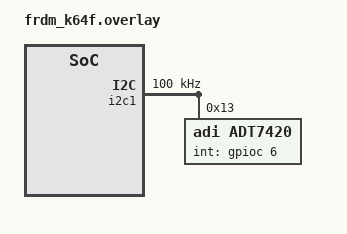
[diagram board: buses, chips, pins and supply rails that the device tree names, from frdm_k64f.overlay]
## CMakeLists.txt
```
# SPDX-License-Identifier: Apache-2.0

cmake_minimum_required(VERSION 3.28.0)
find_package(Zephyr REQUIRED HINTS $ENV{ZEPHYR_BASE})
project(adt7420)

FILE(GLOB app_sources src/*.c)
target_sources(app PRIVATE ${app_sources})
```

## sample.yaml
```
sample:
  name: ADT7420 Sensor Sample
tests:
  sample.sensor.adt7420:
    harness: sensor
    tags: sensors
    platform_allow:
      - frdm_k64f
    depends_on: i2c
```

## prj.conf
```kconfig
CONFIG_STDOUT_CONSOLE=y
CONFIG_I2C=y
CONFIG_SENSOR=y
CONFIG_CBPRINTF_FP_SUPPORT=y
CONFIG_PM_DEVICE=y
```

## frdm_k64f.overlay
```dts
/*
 * Copyright (c) 2019 Linaro Limited
 *
 * SPDX-License-Identifier: Apache-2.0
 */

&i2c1 {
	status = "okay";
	clock-frequency = <I2C_BITRATE_STANDARD>;
	adt7420@13 {
		compatible = "adi,adt7420";
		reg = <0x13>;
		label = "ADT7420";
		int-gpios = <&gpioc 6 0>;
	};
};
```

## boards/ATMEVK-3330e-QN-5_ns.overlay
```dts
&i2c1 {
	status = "okay";
        scl-pullup;
	adt7420@4b {
		compatible = "adi,adt7420";
		reg = <0x4b>;
		label = "ADT7420";
	};
};
```

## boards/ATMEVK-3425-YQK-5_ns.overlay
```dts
&i2c0 {
	status = "okay";
        scl-pullup;
	adt7420@4b {
		compatible = "adi,adt7420";
		reg = <0x4b>;
		label = "ADT7420";
	};
};
```

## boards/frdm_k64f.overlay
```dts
/*
 * Copyright (c) 2019 Linaro Limited, 2026 Analog Devices Inc.
 *
 * SPDX-License-Identifier: Apache-2.0
 */

&i2c0 {
	clock-frequency = <I2C_BITRATE_STANDARD>;
	status = "okay";

	adt7420: adt7420@48 {
		compatible = "adi,adt7420";
		reg = <0x48>;
		op-mode = "one-shot";
		set-resolution = <16>;
		int-gpios = <&gpioa 11 GPIO_ACTIVE_LOW>;
		ct-gpios = <&gpioa 12 GPIO_ACTIVE_LOW>;
		set-comparator-mode;
	};
};

/ {
	aliases {
		temp-sensor = &adt7420;
	};
};
```

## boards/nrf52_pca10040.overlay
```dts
/*
 * Copyright (c) 2019 Linaro Limited
 *
 * SPDX-License-Identifier: Apache-2.0
 */

&i2c0 { /* SDA P0.26, SCL P0.27, ALERT P0.11 */
	status = "okay";
	clock-frequency = <I2C_BITRATE_STANDARD>;
	adt7420@48 {
		compatible = "adi,adt7420";
		reg = <0x48>;
		label = "ADT7420";
		int-gpios = <&gpio0 11 0>;
	};
};
```

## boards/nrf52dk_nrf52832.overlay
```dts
/*
 * Copyright (c) 2019 Linaro Limited, 2026 Analog Devices Inc.
 *
 * SPDX-License-Identifier: Apache-2.0
 */

&i2c0 {
	clock-frequency = <I2C_BITRATE_STANDARD>; /* SDA P0.26, SCL P0.27, ALERT P0.11 */
	status = "okay";

	adt7420: adt7420@48 {
		compatible = "adi,adt7420";
		reg = <0x48>;
		op-mode = "1sps";
		set-resolution = <16>;
		int-gpios = <&gpio0 11 GPIO_ACTIVE_LOW>;
		ct-gpios = <&gpio0 12 GPIO_ACTIVE_LOW>;
		set-comparator-mode;
	};
};

/ {
	aliases {
		temp-sensor = &adt7420;
	};
};
```

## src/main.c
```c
/*
 * Copyright (c) 2018, 2026 Analog Devices Inc.
 *
 * SPDX-License-Identifier: Apache-2.0
 */

#include <zephyr/kernel.h>
#include <zephyr/device.h>
#include <zephyr/drivers/sensor.h>
#include <stdio.h>
#include <zephyr/sys/__assert.h>

#define DELAY_WITHOUT_TRIGGER K_SECONDS(1)

#define DEVICE_NODE DT_ALIAS(temp_sensor)

#define UCEL_PER_CEL 1000000
#define UCEL_PER_MCEL 1000
#define TEMP_INITIAL_CEL 21
#define TEMP_WINDOW_HALF_UCEL 500000
#define T_HIGH_CEL	15
#define T_LOW_CEL	40

K_SEM_DEFINE(sem, 0, 1);
static const char *now_str(void)
{
	static char buf[16]; /* ...HH:MM:SS.MMM */
	uint32_t now = k_uptime_get_32();
	unsigned int ms = now % MSEC_PER_SEC;
	unsigned int s;
	unsigned int min;
	unsigned int h;

	now /= MSEC_PER_SEC;
	s = now % 60U;
	now /= 60U;
	min = now % 60U;
	now /= 60U;
	h = now;

	snprintf(buf, sizeof(buf), "%u:%02u:%02u.%03u",
		 h, min, s, ms);
	return buf;
}

#ifdef CONFIG_ADT7420_TRIGGER
#define DELAY_WITH_TRIGGER K_SECONDS(5)

static void trigger_handler(const struct device *dev,
			    const struct sensor_trigger *trigger)
{
	k_sem_give(&sem);
}

static int low_ucel;
static int high_ucel;

static bool temp_in_window(const struct sensor_value *val)
{
	int temp_ucel = val->val1 * UCEL_PER_CEL + val->val2;

	return (temp_ucel >= low_ucel) && (temp_ucel <= high_ucel);
}

static int sensor_set_window(const struct device *dev,
			     const struct sensor_value *val)
{
	int temp_ucel = val->val1 * UCEL_PER_CEL + val->val2;

	low_ucel = temp_ucel - TEMP_WINDOW_HALF_UCEL;
	high_ucel = temp_ucel + TEMP_WINDOW_HALF_UCEL;

	int rc = sensor_set_attribute(dev, SENSOR_CHAN_AMBIENT_TEMP,
				      SENSOR_ATTR_UPPER_THRESH, high_ucel);

	if (rc == 0) {
		sensor_set_attribute(dev, SENSOR_CHAN_AMBIENT_TEMP,
				     SENSOR_ATTR_LOWER_THRESH, low_ucel);
	}

	if (rc == 0) {
		printk("Alert on temp outside [%d, %d] mCel\n",
		       low_ucel / UCEL_PER_MCEL,
		       high_ucel / UCEL_PER_MCEL);
	}

	return rc;
}
#endif

static int sensor_set_attribute(const struct device *dev,
				enum sensor_channel chan,
				enum sensor_attribute attr, int value)
{
	struct sensor_value sensor_val;
	int ret;

	sensor_val.val1 = value / UCEL_PER_CEL;
	sensor_val.val2 = value % UCEL_PER_CEL;

	ret = sensor_attr_set(dev, chan, attr, &sensor_val);
	if (ret) {
		printf("sensor_attr_set failed ret %d\n", ret);
	}

	return ret;
}

static void process(const struct device *dev)
{
	struct sensor_value temp_val = {0};
	int ret;
	bool reset_window = false;

	/* Set update rate to 240 mHz */
	sensor_set_attribute(dev, SENSOR_CHAN_AMBIENT_TEMP,
			     SENSOR_ATTR_SAMPLING_FREQUENCY, 240 * 1000);

#ifdef CONFIG_ADT7420_TRIGGER
	struct sensor_trigger trig = {
		.type = SENSOR_TRIG_THRESHOLD,
		.chan = SENSOR_CHAN_AMBIENT_TEMP,
	};
	struct sensor_value val = {
		.val1 = TEMP_INITIAL_CEL,
	};

	ret = sensor_set_window(dev, &val);
	if (ret == 0) {
		ret = sensor_trigger_set(dev, &trig, trigger_handler);
	}
	if (ret != 0) {
		printf("Could not set trigger\n");
		return;
	}
#endif

	/* configuration for trigger thresholds */
	temp_val.val1 = T_HIGH_CEL;
	ret = sensor_attr_set(dev, SENSOR_CHAN_AMBIENT_TEMP, SENSOR_ATTR_UPPER_THRESH, &temp_val);
	if (ret) {
		printf("sensor_attr_set failed ret %d\n", ret);
		return;
	}

	ret = sensor_attr_get(dev, SENSOR_CHAN_AMBIENT_TEMP, SENSOR_ATTR_UPPER_THRESH, &temp_val);
	if (ret) {
		printf("sensor_attr_get failed ret %d\n", ret);
		return;
	}

	printf("[%s]: T_High %.6f Cel\n", now_str(), sensor_value_to_double(&temp_val));

	temp_val.val1 = T_LOW_CEL;
	ret = sensor_attr_set(dev, SENSOR_CHAN_AMBIENT_TEMP, SENSOR_ATTR_LOWER_THRESH, &temp_val);
	if (ret) {
		printf("sensor_attr_set failed ret %d\n", ret);
		return;
	}

	ret = sensor_attr_get(dev, SENSOR_CHAN_AMBIENT_TEMP, SENSOR_ATTR_LOWER_THRESH, &temp_val);
	if (ret) {
		printf("sensor_attr_get failed ret %d\n", ret);
		return;
	}

	printf("[%s]: T_Low %.6f Cel\n", now_str(), sensor_value_to_double(&temp_val));


	/* Read device configuration */
	ret = sensor_attr_get(dev, SENSOR_CHAN_AMBIENT_TEMP, SENSOR_ATTR_HYSTERESIS, &temp_val);
	if (ret) {
		printf("sensor_attr_get failed ret %d\n", ret);
		return;
	}

	printf("[%s]: T_Hyst %.6f Cel\n", now_str(), sensor_value_to_double(&temp_val));

	ret = sensor_attr_get(dev, SENSOR_CHAN_AMBIENT_TEMP, SENSOR_ATTR_CONFIGURATION, &temp_val);
	if (ret) {
		printf("sensor_attr_get failed ret %d\n", ret);
		return;
	}

	printf("[%s]: Config - 0x%X\n", now_str(), temp_val.val1);

	/* main loop */
	while (1) {
		ret = sensor_sample_fetch(dev);
		if (ret) {
			printf("sensor_sample_fetch failed ret %d\n", ret);
			return;
		}

		ret = sensor_channel_get(dev, SENSOR_CHAN_AMBIENT_TEMP, &temp_val);
		if (ret) {
			printf("sensor_channel_get failed ret %d\n", ret);
			return;
		}

#ifdef CONFIG_ADT7420_TRIGGER
		reset_window |= !temp_in_window(&temp_val);
#endif

		printf("[%s]: temperature %.6f Cel%s\n", now_str(),
		       sensor_value_to_double(&temp_val),
		       reset_window ? ": NEED RESET" : "");

		ret = sensor_attr_get(dev, SENSOR_CHAN_AMBIENT_TEMP, SENSOR_ATTR_ALERT, &temp_val);
		if (ret) {
			printf("sensor_attr_get failed ret %d\n", ret);
			return;
		}

		printf("[%s]: alerts\n\tT_low %d\n\tT_high %d\n\tT_crit %d\n",
			now_str(), ((temp_val.val1 & BIT(4)) != 0),
			((temp_val.val1 & BIT(5)) != 0),
			((temp_val.val1 & BIT(6)) != 0));

#if  defined(CONFIG_ADT7420_TRIGGER)
		if (reset_window) {
			ret = sensor_set_window(dev, &temp_val);
		}
		if (ret) {
			printf("Window update failed ret %d\n", ret);
			return;
		}

		printk("Wait for trigger...");
		ret = k_sem_take(&sem, DELAY_WITH_TRIGGER);
		reset_window = (ret == 0);
		printk("%s\n", reset_window ? "ALERTED!" : "timed-out");
#else
	k_sleep(DELAY_WITHOUT_TRIGGER);
#endif
	}
}

int main(void)
{
	const struct device *const dev = DEVICE_DT_GET(DEVICE_NODE);

	if (!device_is_ready(dev)) {
		printk("sensor: device not ready.\n");
		return 0;
	}

	printf("device is %p, name is %s\n", dev, dev->name);

	process(dev);
	return 0;
}
```
